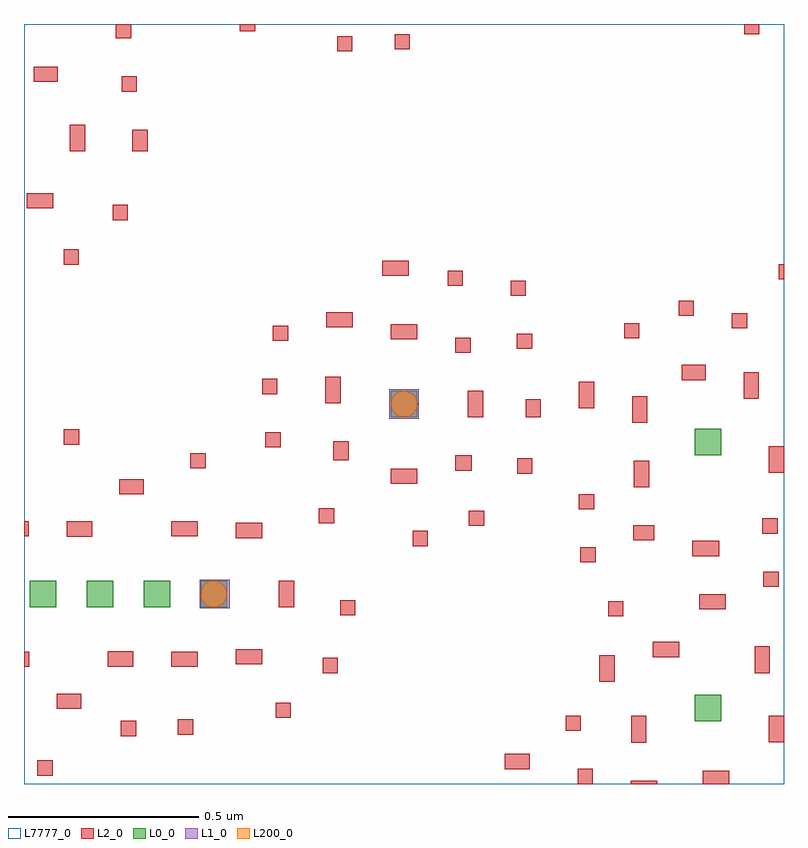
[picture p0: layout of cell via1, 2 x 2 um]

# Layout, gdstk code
import gdstk
lib = gdstk.Library(unit=1e-6, precision=1e-09)
def R(c, l, rs):  # rectangles x0, y0, x1, y1
    for r in rs: c.add(gdstk.rectangle(r[:2], r[2:], *l))
def A(c, l, x, y, w, h, nx, ny, dx, dy):  # array of equal rectangles
    R(c, l, [(x+i*dx, y+j*dy, x+i*dx+w, y+j*dy+h) for i in range(nx) for j in range(ny)])
def P(c, l, *ps):  # polygons
    for p in ps: c.add(gdstk.Polygon(p, *l))
L0_0 = (0, 0)
L1_0 = (1, 0)
L2_0 = (2, 0)
L200_0 = (200, 0)
L7777_0 = (7777, 0)

via1 = lib.new_cell('via1')
A(via1, L0_0, 55.565, 114.965, 0.07, 0.07, 4, 1, 0.15, 0)
R(via1, L0_0, [(57.315,114.665,57.385,114.735), (57.315,115.365,57.385,115.435), (56.515,115.465,56.585,115.535)])
R(via1, L1_0, [(56.012,114.963,56.092,115.037), (56.511,115.461,56.589,115.539)])
R(via1, L2_0, [(57.007,114.5,57.047,114.54), (57.147,114.5,57.217,114.509), (57.336,114.5,57.406,114.535), (55.585,114.522,55.625,114.562), (56.815,114.539,56.881,114.579), (57.148,114.609,57.188,114.679), (57.51,114.61,57.55,114.68), (55.805,114.626,55.845,114.666), (55.955,114.63,55.995,114.67), (56.975,114.64,57.015,114.68), (56.212,114.674,56.252,114.714), (55.636,114.698,55.7,114.738), (57.064,114.769,57.104,114.839), (56.336,114.792,56.376,114.832), (57.473,114.792,57.513,114.862), (55.55,114.808,55.564,114.848), (55.937,114.808,56.007,114.848), (55.771,114.809,55.837,114.849), (56.107,114.815,56.177,114.855), (57.204,114.834,57.274,114.874), (57.087,114.941,57.127,114.981), (56.382,114.944,56.422,114.984), (57.327,114.96,57.397,115), (56.221,114.965,56.261,115.035), (57.496,115.019,57.536,115.059), (57.014,115.083,57.054,115.123), (57.309,115.1,57.379,115.14), (56.573,115.126,56.613,115.166), (57.153,115.141,57.209,115.181), (56.107,115.147,56.177,115.187), (55.663,115.151,55.73,115.191), (55.55,115.152,55.563,115.192), (55.937,115.152,56.007,115.192), (57.493,115.159,57.533,115.199), (56.721,115.179,56.761,115.219), (56.326,115.186,56.366,115.226), (57.01,115.223,57.05,115.263), (55.801,115.262,55.865,115.302), (57.155,115.281,57.195,115.351), (56.515,115.29,56.585,115.33), (56.848,115.317,56.888,115.357), (57.51,115.319,57.55,115.389), (56.685,115.325,56.728,115.365), (55.988,115.331,56.028,115.371), (56.364,115.352,56.404,115.402), (56.185,115.386,56.225,115.426), (55.655,115.393,55.695,115.433), (57.15,115.451,57.19,115.521), (56.718,115.465,56.758,115.535), (56.87,115.465,56.91,115.512), (57.01,115.489,57.05,115.559), (56.343,115.502,56.383,115.572), (57.444,115.514,57.484,115.584), (56.177,115.526,56.217,115.566), (57.281,115.563,57.344,115.603), (56.685,115.635,56.725,115.675), (56.847,115.645,56.887,115.685), (56.205,115.666,56.245,115.706), (56.515,115.67,56.585,115.71), (57.129,115.673,57.169,115.713), (57.413,115.699,57.453,115.739), (56.345,115.702,56.415,115.742), (57.273,115.732,57.313,115.772), (56.831,115.785,56.871,115.825), (56.665,115.811,56.705,115.851), (57.536,115.828,57.55,115.868), (56.493,115.837,56.563,115.877), (55.654,115.867,55.694,115.907), (55.783,115.984,55.823,116.024), (55.557,116.015,55.627,116.055), (55.671,116.165,55.711,116.235), (55.835,116.165,55.875,116.222), (55.807,116.322,55.847,116.362), (55.576,116.348,55.639,116.388), (56.374,116.428,56.414,116.468), (56.525,116.433,56.565,116.473), (55.792,116.462,55.832,116.5), (57.445,116.473,57.485,116.5), (56.118,116.481,56.158,116.5)])
P(via1, L200_0, [(56.039,114.965),(56.03,114.969),(56.024,114.974),(56.018,114.984),(56.015,114.993),(56.016,115.011),(56.02,115.02),(56.029,115.03),(56.039,115.035),(56.058,115.035),(56.067,115.031),(56.076,115.024),(56.084,115.011),(56.085,114.993),(56.075,114.974),(56.059,114.965)],
  [(56.555,115.465),(56.536,115.467),(56.529,115.472),(56.518,115.485),(56.515,115.499),(56.518,115.514),(56.527,115.527),(56.536,115.532),(56.546,115.535),(56.555,115.535),(56.573,115.527),(56.581,115.518),(56.585,115.508),(56.586,115.499),(56.582,115.485),(56.573,115.473),(56.564,115.467)])
R(via1, L7777_0, [(55.55,114.5,57.55,116.5)])

lib.write_gds('via1.gds')
